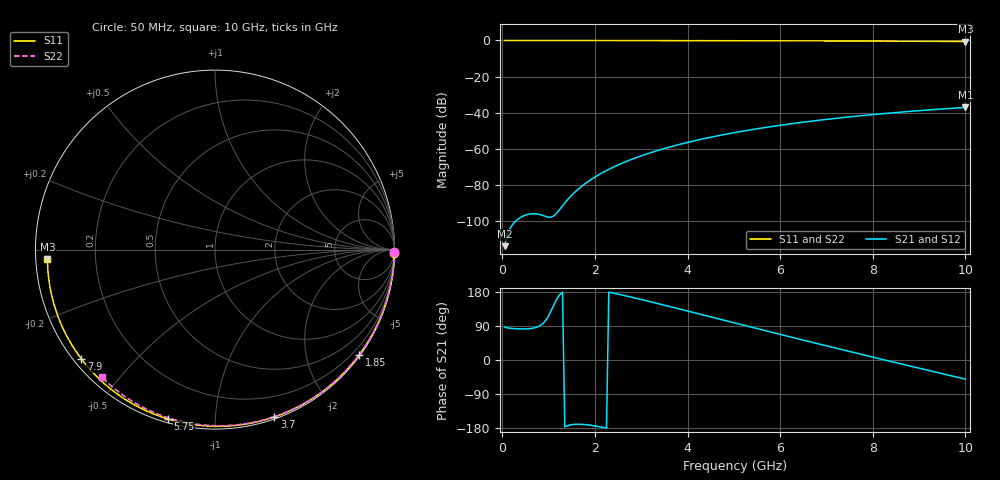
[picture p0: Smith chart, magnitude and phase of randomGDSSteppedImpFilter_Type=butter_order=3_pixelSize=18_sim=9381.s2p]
! freq	dB(S11)	phase(S11)	dB(S12)	phase(S12)
!  dB(S21)	phase(S21)	dB(S22)	phase(S22)
!S-par simulation data
#  GHz  S  DB  R 50
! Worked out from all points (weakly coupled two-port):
!   200 points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, 50 MHz to 10 GHz, reference 50 ohm
!   highest |S21| = -37.14 dB at 10 GHz (marker M1); lowest = -114.1 dB at 50 MHz (marker M2)
!   lowest |S11| = -0.6 dB at 10 GHz (marker M3), VSWR 29.74, Z = 1.68 - j1.38 ohm
!   |S11| at or under -10 dB: nowhere
!   |S22| runs from -0.4 to 0.0 dB; largest |S21 - S12| = 0
!   S11 on the Smith chart (normalised r, x): 50 MHz: open; 1.85 GHz: 0.03, -3.06; 3.7 GHz: 0.02, -1.42; 5.75 GHz: 0.02, -0.76; 7.9 GHz: 0.02, -0.36; 10 GHz: 0.03, -0.03
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0.05  -0.00 -1.0  -114.10 87.2  -114.10 87.2  -0.00 -0.8
0.45  -0.01 -9.0  -97.38 82.0  -97.38 82.0  -0.01 -6.8
0.85  -0.02 -16.9  -96.86 93.6  -96.86 93.6  -0.02 -12.9
1.3  -0.03 -25.6  -91.70 179.3  -91.70 179.3  -0.02 -19.6
1.75  -0.04 -34.3  -80.15 -170.1  -80.15 -170.1  -0.03 -26.2
1.85  -0.05 -36.2  -78.28 -171.3  -78.28 -171.3  -0.04 -27.7
2.15  -0.05 -42.0  -73.50 -177.2  -73.50 -177.2  -0.04 -32.1
2.5  -0.06 -48.5  -69.05 173.8  -69.05 173.8  -0.05 -37.2
2.9  -0.07 -56.0  -64.90 162.5  -64.90 162.5  -0.06 -42.9
3.4  -0.09 -65.1  -60.67 147.6  -60.67 147.6  -0.07 -50.0
3.7  -0.10 -70.5  -58.50 138.4  -58.50 138.4  -0.07 -54.1
4.35  -0.12 -81.9  -54.48 118.3  -54.48 118.3  -0.09 -63.0
5.05  -0.15 -93.9  -50.93 96.7  -50.93 96.7  -0.11 -72.3
5.75  -0.18 -105.6  -47.98 75.2  -47.98 75.2  -0.14 -81.4
6.2  -0.21 -113.0  -46.33 61.4  -46.33 61.4  -0.16 -87.0
6.7  -0.24 -121.2  -44.68 46.3  -44.68 46.3  -0.18 -93.2
7.3  -0.28 -130.9  -42.92 28.3  -42.92 28.3  -0.21 -100.5
7.9  -0.34 -140.8  -41.36 10.5  -41.36 10.5  -0.25 -107.6
8.35  -0.38 -148.2  -40.30 -2.8  -40.30 -2.8  -0.29 -112.8
9.2  -0.48 -162.6  -38.54 -27.5  -38.54 -27.5  -0.36 -122.6
9.6  -0.53 -169.6  -37.81 -39.0  -37.81 -39.0  -0.40 -127.2
10  -0.58 -176.8  -37.14 -50.5  -37.14 -50.5  -0.45 -131.7
